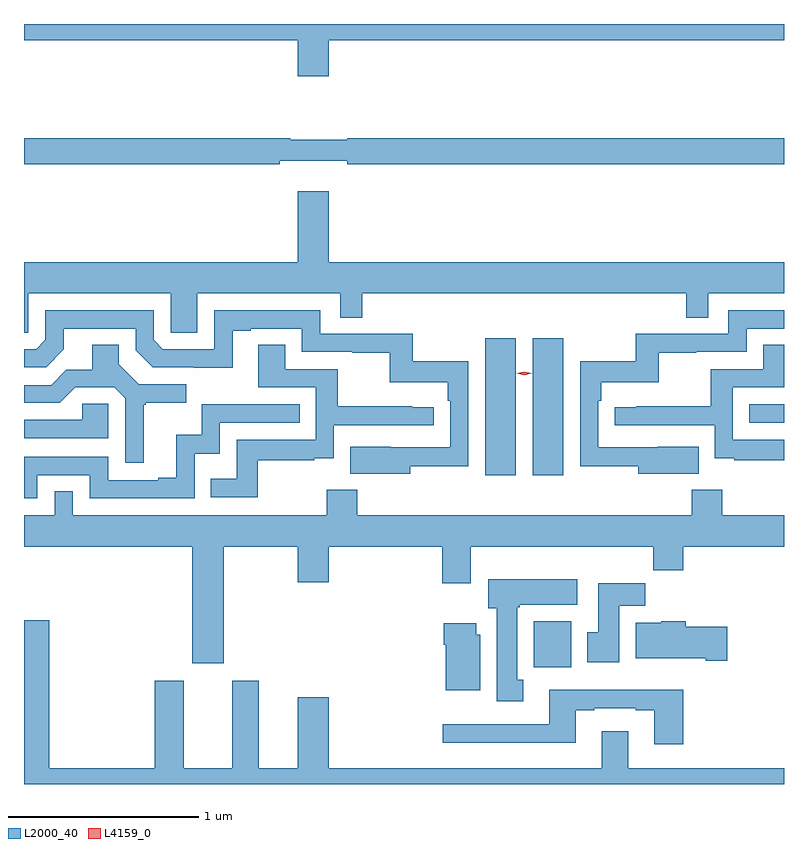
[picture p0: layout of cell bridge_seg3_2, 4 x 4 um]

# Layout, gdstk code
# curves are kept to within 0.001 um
import gdstk
lib = gdstk.Library(unit=1e-6, precision=1e-09)
def R(c, l, rs):  # rectangles x0, y0, x1, y1
    for r in rs: c.add(gdstk.rectangle(r[:2], r[2:], *l))
def P(c, l, *ps):  # polygons
    for p in ps: c.add(gdstk.Polygon(p, *l))
L2000_40 = (2000, 40)
L4159_0 = (4159, 0)

bridge_seg3_2 = lib.new_cell('bridge_seg3_2')
R(bridge_seg3_2, L2000_40, [(1125.29,712.268,1125.487,712.51), (1125.035,713.28,1125.196,714.001), (1125.284,713.28,1125.445,714.001), (1126.423,713.556,1126.607,713.652)])
P(bridge_seg3_2, L2000_40, [(1124.212,715.568),(1126.607,715.568),(1126.607,715.654),(1122.607,715.654),(1122.607,715.568),(1124.048,715.568),(1124.048,715.38),(1124.212,715.38)],
  [(1123.952,714.935),(1124.308,714.935),(1124.308,714.916),(1126.607,714.916),(1126.607,715.052),(1124.308,715.052),(1124.308,715.045),(1124.008,715.045),(1124.008,715.052),(1122.607,715.052),(1122.607,714.916),(1123.952,714.916)],
  [(1122.63,714.236),(1123.38,714.236),(1123.38,714.028),(1123.519,714.028),(1123.519,714.236),(1124.271,714.236),(1124.271,714.109),(1124.387,714.109),(1124.387,714.236),(1126.093,714.236),(1126.093,714.109),(1126.209,714.109),(1126.209,714.236),(1126.607,714.236),(1126.607,714.4),(1124.212,714.4),(1124.212,714.775),(1124.048,714.775),(1124.048,714.4),(1122.607,714.4),(1122.607,714.028),(1122.63,714.028)],
  [(1124.641,713.326),(1124.946,713.326),(1124.946,713.878),(1124.653,713.878),(1124.653,714.024),(1124.166,714.024),(1124.166,714.147),(1123.608,714.147),(1123.608,713.943),(1123.338,713.943),(1123.29,713.991),(1123.29,714.147),(1122.72,714.147),(1122.72,713.991),(1122.672,713.943),(1122.607,713.943),(1122.607,713.847),(1122.723,713.847),(1122.817,713.941),(1122.817,714.051),(1123.194,714.051),(1123.194,713.937),(1123.284,713.847),(1123.705,713.846),(1123.705,714.039),(1123.801,714.039),(1123.801,714.051),(1124.07,714.051),(1124.07,713.928),(1124.335,713.928),(1124.335,713.923),(1124.532,713.923),(1124.532,713.768),(1124.837,713.768),(1124.837,713.672),(1124.85,713.672),(1124.85,713.427),(1124.323,713.428),(1124.323,713.288),(1124.641,713.288)],
  [(1126.157,713.428),(1125.943,713.428),(1125.943,713.427),(1125.63,713.427),(1125.63,713.672),(1125.644,713.672),(1125.644,713.768),(1125.949,713.768),(1125.949,713.923),(1126.145,713.923),(1126.145,713.928),(1126.41,713.928),(1126.41,714.051),(1126.607,714.051),(1126.607,714.147),(1126.314,714.147),(1126.314,714.024),(1125.828,714.024),(1125.828,713.878),(1125.534,713.878),(1125.534,713.326),(1125.839,713.326),(1125.839,713.288),(1126.157,713.288)],
  [(1126.607,713.466),(1126.338,713.466),(1126.338,713.742),(1126.607,713.742),(1126.607,713.966),(1126.499,713.966),(1126.499,713.838),(1126.222,713.838),(1126.222,713.642),(1125.829,713.642),(1125.829,713.637),(1125.717,713.637),(1125.717,713.541),(1126.242,713.541),(1126.242,713.369),(1126.345,713.369),(1126.345,713.358),(1126.607,713.358)],
  [(1123.837,713.358),(1124.135,713.358),(1124.135,713.369),(1124.238,713.369),(1124.238,713.541),(1124.764,713.541),(1124.764,713.637),(1124.651,713.637),(1124.651,713.642),(1124.258,713.642),(1124.258,713.838),(1123.981,713.838),(1123.981,713.966),(1123.841,713.966),(1123.841,713.742),(1124.142,713.742),(1124.142,713.466),(1123.726,713.466),(1123.726,713.26),(1123.591,713.26),(1123.591,713.163),(1123.837,713.163)],
  [(1123.237,713.649),(1123.249,713.649),(1123.249,713.66),(1123.462,713.66),(1123.462,713.757),(1123.212,713.757),(1123.105,713.864),(1123.105,713.966),(1122.965,713.966),(1122.965,713.834),(1122.83,713.834),(1122.75,713.754),(1122.609,713.754),(1122.609,713.661),(1122.796,713.661),(1122.877,713.742),(1123.083,713.742),(1123.14,713.685),(1123.14,713.346),(1123.237,713.346)],
  [(1123.05,713.655),(1122.913,713.655),(1122.913,713.571),(1122.607,713.571),(1122.607,713.475),(1123.05,713.475)],
  [(1122.678,713.28),(1122.954,713.28),(1122.954,713.157),(1123.506,713.157),(1123.506,713.393),(1123.638,713.393),(1123.638,713.556),(1124.057,713.556),(1124.057,713.652),(1123.542,713.652),(1123.542,713.491),(1123.409,713.491),(1123.409,713.266),(1123.313,713.266),(1123.313,713.253),(1123.05,713.253),(1123.05,713.376),(1122.607,713.376),(1122.607,713.157),(1122.678,713.157)],
  [(1123.657,712.904),(1124.048,712.904),(1124.048,712.716),(1124.212,712.716),(1124.212,712.904),(1124.807,712.904),(1124.807,712.71),(1124.959,712.71),(1124.959,712.904),(1125.919,712.904),(1125.919,712.78),(1126.076,712.78),(1126.076,712.904),(1126.607,712.904),(1126.607,713.068),(1126.281,713.068),(1126.281,713.203),(1126.121,713.203),(1126.121,713.068),(1124.36,713.068),(1124.36,713.203),(1124.2,713.203),(1124.2,713.068),(1122.864,713.068),(1122.864,713.195),(1122.768,713.195),(1122.768,713.068),(1122.607,713.068),(1122.607,712.904),(1123.493,712.904),(1123.493,712.29),(1123.657,712.29)],
  [(1125.235,712.202),(1125.202,712.202),(1125.202,712.585),(1125.216,712.585),(1125.216,712.598),(1125.52,712.598),(1125.52,712.732),(1125.05,712.732),(1125.05,712.578),(1125.095,712.578),(1125.095,712.089),(1125.235,712.089)],
  [(1125.739,712.592),(1125.878,712.592),(1125.878,712.711),(1125.629,712.711),(1125.629,712.452),(1125.572,712.452),(1125.572,712.296),(1125.739,712.296)],
  [(1126.607,711.736),(1125.787,711.736),(1125.787,711.931),(1125.647,711.931),(1125.647,711.736),(1124.212,711.736),(1124.212,712.111),(1124.048,712.111),(1124.048,711.736),(1123.843,711.736),(1123.843,712.198),(1123.703,712.198),(1123.703,711.736),(1123.447,711.736),(1123.447,712.198),(1123.295,712.198),(1123.295,711.736),(1122.74,711.736),(1122.74,712.516),(1122.607,712.516),(1122.607,711.654),(1126.607,711.654)],
  [(1126.309,712.482),(1126.091,712.482),(1126.091,712.51),(1125.96,712.51),(1125.96,712.504),(1125.827,712.504),(1125.827,712.316),(1126.196,712.316),(1126.196,712.304),(1126.309,712.304)],
  [(1125.007,712.44),(1124.986,712.44),(1124.986,712.501),(1124.816,712.501),(1124.816,712.388),(1124.828,712.388),(1124.828,712.148),(1125.007,712.148)],
  [(1126.076,712.15),(1125.371,712.15),(1125.371,711.969),(1124.811,711.969),(1124.811,711.872),(1125.511,711.872),(1125.511,712.041),(1125.607,712.041),(1125.607,712.053),(1125.827,712.053),(1125.827,712.041),(1125.923,712.041),(1125.923,711.864),(1126.076,711.864)])
P(bridge_seg3_2, L4159_0, [(1125.24,713.805),(1125.2,713.815),(1125.2,713.815),(1125.2,713.816),(1125.24,713.825),(1125.28,713.816),(1125.28,713.815),(1125.28,713.815)])

lib.write_gds('bridge_seg3_2.gds')
